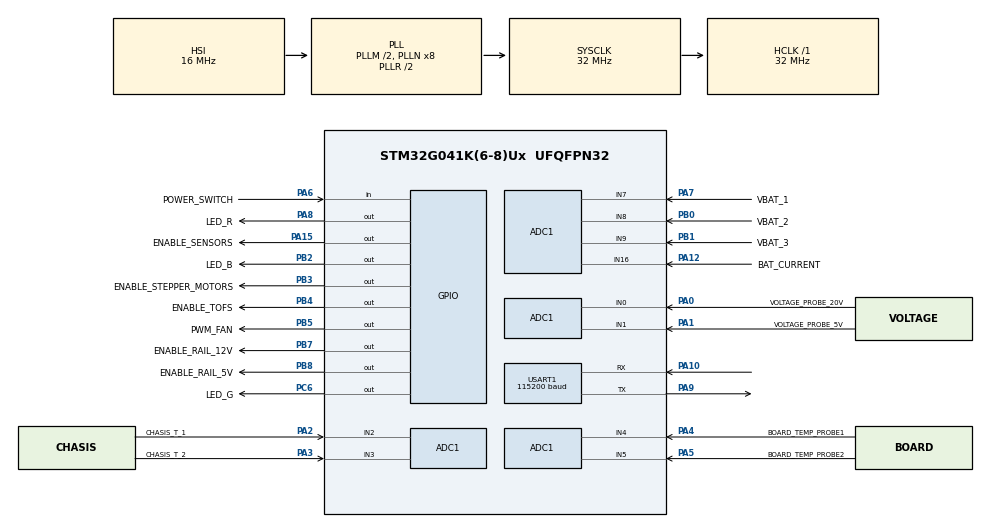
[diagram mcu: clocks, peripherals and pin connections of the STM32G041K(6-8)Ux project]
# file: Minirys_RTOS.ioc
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ADC1.ClockPrescaler=ADC_CLOCK_ASYNC_DIV1
ADC1.ContinuousConvMode=ENABLE
ADC1.DMAContinuousRequests=ENABLE
ADC1.EOCSelection=ADC_EOC_SEQ_CONV
ADC1.NbrOfConversion=1
ADC1.NbrOfConversionFlag=0
ADC1.OversamplingMode=DISABLE
ADC1.SamplingTimeCommon1=ADC_SAMPLETIME_160CYCLES_5
ADC1.SelectedChannel=ADC_CHANNEL_0|ADC_CHANNEL_1|ADC_CHANNEL_2|ADC_CHANNEL_3|ADC_CHANNEL_4|ADC_CHANNEL_5|ADC_CHANNEL_7|ADC_CHANNEL_8|ADC_CHANNEL_9|ADC_CHANNEL_16|ADC_CHANNEL_TEMPSENSOR
ADC1.Sequencer=NOT_FULLY_CONFIGURABLE
ADC1.TriggerFrequencyMode=ADC_TRIGGER_FREQ_HIGH
ADC1.master=1
Dma.ADC1.0.Direction=DMA_PERIPH_TO_MEMORY
Dma.ADC1.0.EventEnable=DISABLE
Dma.ADC1.0.Instance=DMA1_Channel1
Dma.ADC1.0.MemDataAlignment=DMA_MDATAALIGN_HALFWORD
Dma.ADC1.0.MemInc=DMA_MINC_ENABLE
Dma.ADC1.0.Mode=DMA_CIRCULAR
Dma.ADC1.0.PeriphDataAlignment=DMA_PDATAALIGN_HALFWORD
Dma.ADC1.0.PeriphInc=DMA_PINC_DISABLE
Dma.ADC1.0.Polarity=HAL_DMAMUX_REQ_GEN_RISING
Dma.ADC1.0.Priority=DMA_PRIORITY_LOW
Dma.ADC1.0.RequestNumber=1
Dma.ADC1.0.SignalID=NONE
Dma.ADC1.0.SyncEnable=DISABLE
Dma.ADC1.0.SyncPolarity=HAL_DMAMUX_SYNC_NO_EVENT
Dma.ADC1.0.SyncRequestNumber=1
Dma.ADC1.0.SyncSignalID=NONE
Dma.Request0=ADC1
Mcu.Family=STM32G0
Mcu.Name=STM32G041K(6-8)Ux
Mcu.Package=UFQFPN32
NVIC.DMA1_Channel1_IRQn=true\:3\:0\:true\:false\:true\:false\:true
NVIC.USART1_IRQn=true\:0\:0\:false\:false\:true\:true\:true
PA0.GPIO_Label=VOLTAGE_PROBE_20V
PA0.Mode=IN0
PA0.Signal=ADC1_IN0
PA1.GPIO_Label=VOLTAGE_PROBE_5V
PA1.Mode=IN1
PA1.Signal=ADC1_IN1
PA10.Mode=Asynchronous
PA10.Signal=USART1_RX
PA12\ [PA10].GPIO_Label=BAT_CURRENT
PA12\ [PA10].Mode=IN16
PA12\ [PA10].Signal=ADC1_IN16
PA13.Mode=Serial_Wire
PA13.Signal=SYS_SWDIO
PA14-BOOT0.Mode=Serial_Wire
PA14-BOOT0.Signal=SYS_SWCLK
PA15.GPIO_Label=ENABLE_SENSORS
PA15.Signal=GPIO_Output
PA2.GPIO_Label=CHASIS_T_1
PA2.Mode=IN2
PA2.Signal=ADC1_IN2
PA3.GPIO_Label=CHASIS_T_2
PA3.Mode=IN3
PA3.Signal=ADC1_IN3
PA4.GPIO_Label=BOARD_TEMP_PROBE1
PA4.Mode=IN4
PA4.Signal=ADC1_IN4
PA5.GPIO_Label=BOARD_TEMP_PROBE2
PA5.Mode=IN5
PA5.Signal=ADC1_IN5
PA6.GPIO_Label=POWER_SWITCH
PA6.Signal=GPIO_Input
PA7.GPIO_Label=VBAT_1
PA7.Mode=IN7
PA7.Signal=ADC1_IN7
PA8.GPIO_Label=LED_R
PA8.Signal=GPIO_Output
PA9.Mode=Asynchronous
PA9.Signal=USART1_TX
PB0.GPIO_Label=VBAT_2
PB0.Mode=IN8
PB0.Signal=ADC1_IN8
PB1.GPIO_Label=VBAT_3
PB1.Mode=IN9
PB1.Signal=ADC1_IN9
PB2.GPIO_Label=LED_B
PB2.Signal=GPIO_Output
PB3.GPIO_Label=ENABLE_STEPPER_MOTORS
PB3.Signal=GPIO_Output
PB4.GPIO_Label=ENABLE_TOFS
PB4.Signal=GPIO_Output
PB5.GPIO_Label=PWM_FAN
PB5.Signal=GPIO_Output
PB7.GPIO_Label=ENABLE_RAIL_12V
PB7.Signal=GPIO_Output
PB8.GPIO_Label=ENABLE_RAIL_5V
PB8.Signal=GPIO_Output
PC6.GPIO_Label=LED_G
PC6.Signal=GPIO_Output
ProjectManager.HeapSize=0x200
ProjectManager.StackSize=0x400
ProjectManager.TargetToolchain=STM32CubeIDE
RCC.ADCCLockSelection=RCC_ADCCLKSOURCE_PLLADC
RCC.ADCFreq_Value=2560000
RCC.AHBFreq_Value=32000000
RCC.CortexFreq_Value=32000000
RCC.EXTERNAL_CLOCK_VALUE=12288000
RCC.HCLKFreq_Value=32000000
RCC.HSE_VALUE=8000000
RCC.HSI_VALUE=16000000
RCC.LSE_VALUE=32768
RCC.PLLM=RCC_PLLM_DIV2
RCC.PLLP=RCC_PLLP_DIV25
RCC.SYSCLKFreq_VALUE=32000000
RCC.SYSCLKSource=RCC_SYSCLKSOURCE_PLLCLK
RCC.VCOOutputFreq_Value=64000000
USART1.BaudRate=115200
USART1.VirtualMode-Asynchronous=VM_ASYNC
VP_ADC1_TempSens_Input.Mode=IN-TempSens
board=custom

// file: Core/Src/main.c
/* USER CODE BEGIN Header */
/**
  ******************************************************************************
  * @file           : main.c
  * @brief          : Main program body
  ******************************************************************************
  * @attention
  *
  * <h2><center>&copy; Copyright (c) 2021 STMicroelectronics.
  * All rights reserved.</center></h2>
  *
  * This software component is licensed by ST under Ultimate Liberty license
  * SLA0044, the "License"; You may not use this file except in compliance with
  * the License. You may obtain a copy of the License at:
  *                             www.st.com/SLA0044
  *
  ******************************************************************************
  */
/* USER CODE END Header */
#include "main.h"

/* USER CODE BEGIN Includes */
#include "minirysboard_state_machine_utils.h"
#include "msm_runtime.h"
#include "IO_check.h"
#include "comms_handler.h"
/* USER CODE END Includes */

/* USER CODE BEGIN PM */

uint16_t ModbusDATA[32];

struct MSM_StateDataType MachineStateData;
/* USER CODE END PM */

ADC_HandleTypeDef hadc1;
DMA_HandleTypeDef hdma_adc1;

UART_HandleTypeDef huart1;

/* USER CODE BEGIN PV */
uint8_t data;

void HAL_UART_RxCpltCallback(UART_HandleTypeDef *huart)
{
	/* Modbus RTU TX callback BEGIN */
	HAL_UART_Receive_IT(&huart1, &data, 1);
}

/* USER CODE END PV */

void SystemClock_Config(void);
static void MX_GPIO_Init(void);
static void MX_DMA_Init(void);
static void MX_ADC1_Init(void);
static void MX_USART1_UART_Init(void);

int main(void)
{

  /* MCU Configuration--------------------------------------------------------*/

  /* Reset of all peripherals, Initializes the Flash interface and the Systick. */
  HAL_Init();

  /* Configure the system clock */
  SystemClock_Config();

  /* Initialize all configured peripherals */
  MX_GPIO_Init();
  MX_DMA_Init();
  MX_ADC1_Init();
  MX_USART1_UART_Init();
  /* USER CODE BEGIN 2 */
  HAL_UART_Receive_IT(&huart1, &data, 1);

   HAL_ADC_Start_DMA(&hadc1,(uint32_t *) MachineStateData.AnalogInputs.ADCInput ,11);
   HAL_ADC_Start(&hadc1);
   MSM_StateInit(&MachineStateData);

   const char message[] = "Self Test Starting\r\n";
   const char message2[] = "Ok\r\n";
   HAL_UART_Transmit(&huart1, (uint8_t*)message, strlen(message), HAL_MAX_DELAY);
  /* USER CODE END 2 */

  /* Infinite loop */
  while (1)
  {

    /* USER CODE BEGIN 3 */

	 TEST_IO_RTOS(data);
	 if( data == 1 || data == 2)
	 {
		 HAL_UART_Transmit(&huart1, (uint8_t*)message2, strlen(message2), HAL_MAX_DELAY);
	 }
	 data=0;
	 // MSM_Runtime(&MachineStateData);
	  HAL_Delay(100);
  }
  /* USER CODE END 3 */
}

void SystemClock_Config(void)
{
  RCC_OscInitTypeDef RCC_OscInitStruct = {0};
  RCC_ClkInitTypeDef RCC_ClkInitStruct = {0};
  RCC_PeriphCLKInitTypeDef PeriphClkInit = {0};

  /** Configure the main internal regulator output voltage
  */
  HAL_PWREx_ControlVoltageScaling(PWR_REGULATOR_VOLTAGE_SCALE1);
  /** Initializes the RCC Oscillators according to the specified parameters
  * in the RCC_OscInitTypeDef structure.
  */
  RCC_OscInitStruct.OscillatorType = RCC_OSCILLATORTYPE_HSI;
  RCC_OscInitStruct.HSIState = RCC_HSI_ON;
  RCC_OscInitStruct.HSIDiv = RCC_HSI_DIV1;
  RCC_OscInitStruct.HSICalibrationValue = RCC_HSICALIBRATION_DEFAULT;
  RCC_OscInitStruct.PLL.PLLState = RCC_PLL_ON;
  RCC_OscInitStruct.PLL.PLLSource = RCC_PLLSOURCE_HSI;
  RCC_OscInitStruct.PLL.PLLM = RCC_PLLM_DIV2;
  RCC_OscInitStruct.PLL.PLLN = 8;
  RCC_OscInitStruct.PLL.PLLP = RCC_PLLP_DIV25;
  RCC_OscInitStruct.PLL.PLLQ = RCC_PLLQ_DIV2;
  RCC_OscInitStruct.PLL.PLLR = RCC_PLLR_DIV2;
  if (HAL_RCC_OscConfig(&RCC_OscInitStruct) != HAL_OK)
  {
    Error_Handler();
  }
  /** Initializes the CPU, AHB and APB buses clocks
  */
  RCC_ClkInitStruct.ClockType = RCC_CLOCKTYPE_HCLK|RCC_CLOCKTYPE_SYSCLK
                              |RCC_CLOCKTYPE_PCLK1;
  RCC_ClkInitStruct.SYSCLKSource = RCC_SYSCLKSOURCE_PLLCLK;
  RCC_ClkInitStruct.AHBCLKDivider = RCC_SYSCLK_DIV1;
  RCC_ClkInitStruct.APB1CLKDivider = RCC_HCLK_DIV1;

  if (HAL_RCC_ClockConfig(&RCC_ClkInitStruct, FLASH_LATENCY_1) != HAL_OK)
  {
    Error_Handler();
  }
  /** Initializes the peripherals clocks
  */
  PeriphClkInit.PeriphClockSelection = RCC_PERIPHCLK_USART1|RCC_PERIPHCLK_ADC;
  PeriphClkInit.Usart1ClockSelection = RCC_USART1CLKSOURCE_PCLK1;
  PeriphClkInit.AdcClockSelection = RCC_ADCCLKSOURCE_PLLADC;
  if (HAL_RCCEx_PeriphCLKConfig(&PeriphClkInit) != HAL_OK)
  {
    Error_Handler();
  }
}

static void MX_ADC1_Init(void)
{

  ADC_ChannelConfTypeDef sConfig = {0};

  /** Configure the global features of the ADC (Clock, Resolution, Data Alignment and number of conversion)
  */
  hadc1.Instance = ADC1;
  hadc1.Init.ClockPrescaler = ADC_CLOCK_ASYNC_DIV1;
  hadc1.Init.Resolution = ADC_RESOLUTION_12B;
  hadc1.Init.DataAlign = ADC_DATAALIGN_RIGHT;
  hadc1.Init.ScanConvMode = ADC_SCAN_SEQ_FIXED;
  hadc1.Init.EOCSelection = ADC_EOC_SEQ_CONV;
  hadc1.Init.LowPowerAutoWait = DISABLE;
  hadc1.Init.LowPowerAutoPowerOff = DISABLE;
  hadc1.Init.ContinuousConvMode = ENABLE;
  hadc1.Init.NbrOfConversion = 1;
  hadc1.Init.DiscontinuousConvMode = DISABLE;
  hadc1.Init.ExternalTrigConv = ADC_SOFTWARE_START;
  hadc1.Init.ExternalTrigConvEdge = ADC_EXTERNALTRIGCONVEDGE_NONE;
  hadc1.Init.DMAContinuousRequests = ENABLE;
  hadc1.Init.Overrun = ADC_OVR_DATA_PRESERVED;
  hadc1.Init.SamplingTimeCommon1 = ADC_SAMPLETIME_160CYCLES_5;
  hadc1.Init.OversamplingMode = DISABLE;
  hadc1.Init.TriggerFrequencyMode = ADC_TRIGGER_FREQ_HIGH;
  if (HAL_ADC_Init(&hadc1) != HAL_OK)
  {
    Error_Handler();
  }
  /** Configure Regular Channel
  */
  sConfig.Channel = ADC_CHANNEL_0;
  sConfig.Rank = ADC_RANK_CHANNEL_NUMBER;
  if (HAL_ADC_ConfigChannel(&hadc1, &sConfig) != HAL_OK)
  {
    Error_Handler();
  }
  /** Configure Regular Channel
  */
  sConfig.Channel = ADC_CHANNEL_1;
  if (HAL_ADC_ConfigChannel(&hadc1, &sConfig) != HAL_OK)
  {
    Error_Handler();
  }
  /** Configure Regular Channel
  */
  sConfig.Channel = ADC_CHANNEL_2;
  if (HAL_ADC_ConfigChannel(&hadc1, &sConfig) != HAL_OK)
  {
    Error_Handler();
  }
  /** Configure Regular Channel
  */
  sConfig.Channel = ADC_CHANNEL_3;
  if (HAL_ADC_ConfigChannel(&hadc1, &sConfig) != HAL_OK)
  {
    Error_Handler();
  }
  /** Configure Regular Channel
  */
  sConfig.Channel = ADC_CHANNEL_4;
  if (HAL_ADC_ConfigChannel(&hadc1, &sConfig) != HAL_OK)
  {
    Error_Handler();
  }
  /** Configure Regular Channel
  */
  sConfig.Channel = ADC_CHANNEL_5;
  if (HAL_ADC_ConfigChannel(&hadc1, &sConfig) != HAL_OK)
  {
    Error_Handler();
  }
  /** Configure Regular Channel
  */
  sConfig.Channel = ADC_CHANNEL_7;
  if (HAL_ADC_ConfigChannel(&hadc1, &sConfig) != HAL_OK)
  {
    Error_Handler();
  }
  /** Configure Regular Channel
  */
  sConfig.Channel = ADC_CHANNEL_8;
  if (HAL_ADC_ConfigChannel(&hadc1, &sConfig) != HAL_OK)
  {
    Error_Handler();
  }
  /** Configure Regular Channel
  */
  sConfig.Channel = ADC_CHANNEL_9;
  if (HAL_ADC_ConfigChannel(&hadc1, &sConfig) != HAL_OK)
  {
    Error_Handler();
  }
  /** Configure Regular Channel
  */
  sConfig.Channel = ADC_CHANNEL_16;
  if (HAL_ADC_ConfigChannel(&hadc1, &sConfig) != HAL_OK)
  {
    Error_Handler();
  }
  /** Configure Regular Channel
  */
  sConfig.Channel = ADC_CHANNEL_TEMPSENSOR;
  if (HAL_ADC_ConfigChannel(&hadc1, &sConfig) != HAL_OK)
  {
    Error_Handler();
  }

}

static void MX_USART1_UART_Init(void)
{

  huart1.Instance = USART1;
  huart1.Init.BaudRate = 115200;
  huart1.Init.WordLength = UART_WORDLENGTH_8B;
  huart1.Init.StopBits = UART_STOPBITS_1;
  huart1.Init.Parity = UART_PARITY_NONE;
  huart1.Init.Mode = UART_MODE_TX_RX;
  huart1.Init.HwFlowCtl = UART_HWCONTROL_NONE;
  huart1.Init.OverSampling = UART_OVERSAMPLING_16;
  huart1.Init.OneBitSampling = UART_ONE_BIT_SAMPLE_DISABLE;
  huart1.Init.ClockPrescaler = UART_PRESCALER_DIV1;
  huart1.AdvancedInit.AdvFeatureInit = UART_ADVFEATURE_NO_INIT;
  if (HAL_UART_Init(&huart1) != HAL_OK)
  {
    Error_Handler();
  }
  if (HAL_UARTEx_SetTxFifoThreshold(&huart1, UART_TXFIFO_THRESHOLD_1_8) != HAL_OK)
  {
    Error_Handler();
  }
  if (HAL_UARTEx_SetRxFifoThreshold(&huart1, UART_RXFIFO_THRESHOLD_1_8) != HAL_OK)
  {
    Error_Handler();
  }
  if (HAL_UARTEx_DisableFifoMode(&huart1) != HAL_OK)
  {
    Error_Handler();
  }

}

static void MX_DMA_Init(void)
{

  /* DMA controller clock enable */
  __HAL_RCC_DMA1_CLK_ENABLE();

  /* DMA interrupt init */
  /* DMA1_Channel1_IRQn interrupt configuration */
  HAL_NVIC_SetPriority(DMA1_Channel1_IRQn, 3, 0);
  HAL_NVIC_EnableIRQ(DMA1_Channel1_IRQn);

}

static void MX_GPIO_Init(void)
{
  GPIO_InitTypeDef GPIO_InitStruct = {0};

  /* GPIO Ports Clock Enable */
  __HAL_RCC_GPIOA_CLK_ENABLE();
  __HAL_RCC_GPIOB_CLK_ENABLE();
  __HAL_RCC_GPIOC_CLK_ENABLE();

  /*Configure GPIO pin Output Level */
  HAL_GPIO_WritePin(GPIOB, LED_B_Pin|ENABLE_STEPPER_MOTORS_Pin|ENABLE_TOFS_Pin|PWM_FAN_Pin
                          |ENABLE_RAIL_12V_Pin|ENABLE_RAIL_5V_Pin, GPIO_PIN_RESET);

  /*Configure GPIO pin Output Level */
  HAL_GPIO_WritePin(GPIOA, LED_R_Pin|ENABLE_SENSORS_Pin, GPIO_PIN_RESET);

  /*Configure GPIO pin Output Level */
  HAL_GPIO_WritePin(LED_G_GPIO_Port, LED_G_Pin, GPIO_PIN_RESET);

  /*Configure GPIO pin : POWER_SWITCH_Pin */
  GPIO_InitStruct.Pin = POWER_SWITCH_Pin;
  GPIO_InitStruct.Mode = GPIO_MODE_INPUT;
  GPIO_InitStruct.Pull = GPIO_NOPULL;
  HAL_GPIO_Init(POWER_SWITCH_GPIO_Port, &GPIO_InitStruct);

  /*Configure GPIO pins : LED_B_Pin ENABLE_STEPPER_MOTORS_Pin ENABLE_TOFS_Pin PWM_FAN_Pin
                           ENABLE_RAIL_12V_Pin ENABLE_RAIL_5V_Pin */
  GPIO_InitStruct.Pin = LED_B_Pin|ENABLE_STEPPER_MOTORS_Pin|ENABLE_TOFS_Pin|PWM_FAN_Pin
                          |ENABLE_RAIL_12V_Pin|ENABLE_RAIL_5V_Pin;
  GPIO_InitStruct.Mode = GPIO_MODE_OUTPUT_PP;
  GPIO_InitStruct.Pull = GPIO_NOPULL;
  GPIO_InitStruct.Speed = GPIO_SPEED_FREQ_LOW;
  HAL_GPIO_Init(GPIOB, &GPIO_InitStruct);

  /*Configure GPIO pins : LED_R_Pin ENABLE_SENSORS_Pin */
  GPIO_InitStruct.Pin = LED_R_Pin|ENABLE_SENSORS_Pin;
  GPIO_InitStruct.Mode = GPIO_MODE_OUTPUT_PP;
  GPIO_InitStruct.Pull = GPIO_NOPULL;
  GPIO_InitStruct.Speed = GPIO_SPEED_FREQ_LOW;
  HAL_GPIO_Init(GPIOA, &GPIO_InitStruct);

  /*Configure GPIO pin : LED_G_Pin */
  GPIO_InitStruct.Pin = LED_G_Pin;
  GPIO_InitStruct.Mode = GPIO_MODE_OUTPUT_PP;
  GPIO_InitStruct.Pull = GPIO_NOPULL;
  GPIO_InitStruct.Speed = GPIO_SPEED_FREQ_LOW;
  HAL_GPIO_Init(LED_G_GPIO_Port, &GPIO_InitStruct);

}

void Error_Handler(void)
{
  __disable_irq();
  while (1)
  {
  }
}

/************************ (C) COPYRIGHT STMicroelectronics *****END OF FILE****/
